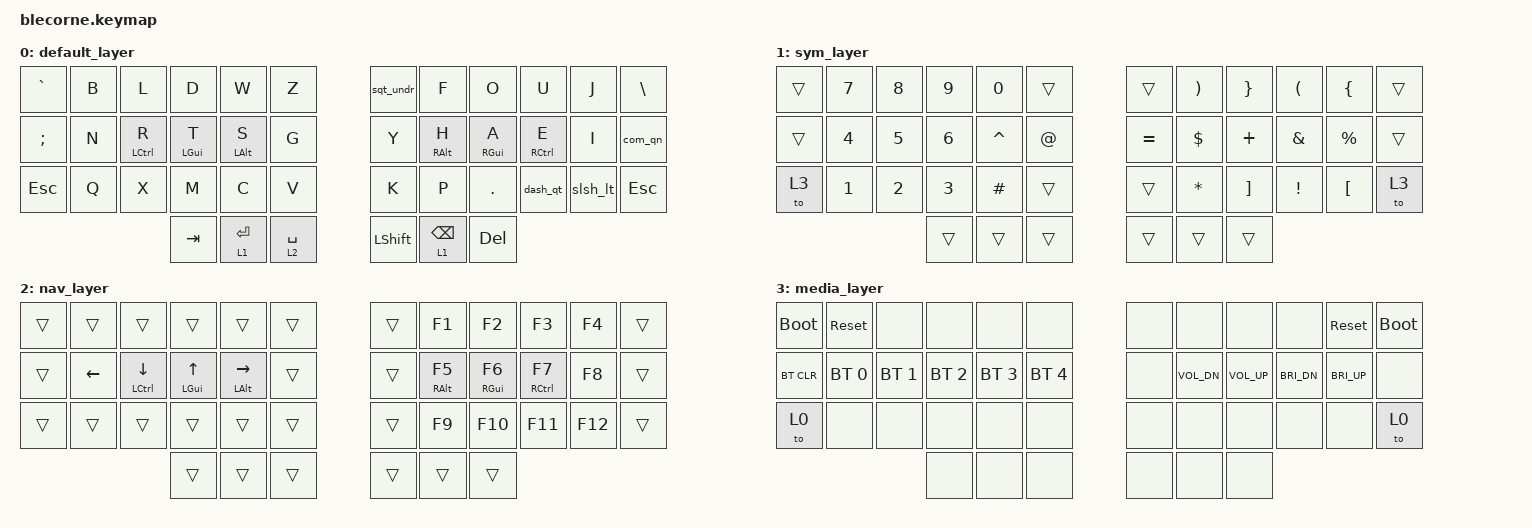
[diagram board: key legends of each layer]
// -*- mode: c -*-
/*
 * Copyright (c) 2020 The ZMK Contributors
 * SPDX-License-Identifier: MIT
 */

#include <behaviors.dtsi>
#include <dt-bindings/zmk/keys.h>
#include <dt-bindings/zmk/bt.h>

/ {
    chosen {
        zmk,physical-layout = &foostan_corne_6col_layout;
        // zmk,physical-layout = &foostan_corne_5col_layout;
    };
};

&mt {
    flavor = "tap-preferred";
    tapping_term_ms = <150>;
};

/ {
    behaviors {
        sqt_undr: sqt_undr {
            compatible = "zmk,behavior-mod-morph";
            label = "SQT_UNDR";
            #binding-cells = <0>;
            bindings = <&kp SINGLE_QUOTE>, <&kp UNDER>;
            mods = <(MOD_LSFT|MOD_RSFT)>;
        };

        dash_qt: dash_qt {
            compatible = "zmk,behavior-mod-morph";
            label = "DASH_QT";
            #binding-cells = <0>;
            bindings = <&kp MINUS>, <&kp DQT>;
            mods = <(MOD_LSFT|MOD_RSFT)>;
        };

        // why does this one work?
        slsh_lt: slsh_lt {
            compatible = "zmk,behavior-mod-morph";
            label = "SLSH_LT";
            #binding-cells = <0>;
            bindings = <&kp SLASH>, <&kp LT>;
            mods = <(MOD_LSFT|MOD_RSFT)>;
        };

        com_qn: com_qn {
            compatible = "zmk,behavior-mod-morph";
            label = "COM_QN";
            #binding-cells = <0>;
            bindings = <&kp COMMA>, <&kp QMARK>;
            mods = <(MOD_LSFT|MOD_RSFT)>;
        };
    };

    keymap {
        compatible = "zmk,keymap";

        default_layer {
            bindings = <
                &kp GRAVE &kp B &kp L      &kp D      &kp W      &kp Z          &sqt_undr &kp F       &kp O      &kp U      &kp J    &kp BSLH
                &kp SEMI  &kp N &mt LCTL R &mt LGUI T &mt LALT S &kp G          &kp Y     &mt RALT H  &mt RGUI A &mt RCTL E &kp I    &com_qn
                &kp ESC   &kp Q &kp X      &kp M      &kp C      &kp V          &kp K     &kp P       &kp DOT    &dash_qt   &slsh_lt &kp ESC
                                           &kp TAB    &lt 1 RET  &lt 2 SPACE    &kp LSHFT &lt 1 BSPC  &kp DEL
            >;
        };

        sym_layer {
            bindings = <
                &trans &kp N7 &kp N8 &kp N9 &kp N0    &trans        &trans    &kp RPAR  &kp RBRC &kp LPAR &kp LBRC  &trans
                &trans &kp N4 &kp N5 &kp N6 &kp CARET &kp AT        &kp EQUAL &kp DLLR  &kp PLUS &kp AMPS &kp PRCNT &trans
                &to 3  &kp N1 &kp N2 &kp N3 &kp HASH  &trans        &trans    &kp ASTRK &kp RBKT &kp EXCL &kp LBKT  &to 3
                                     &trans &trans    &trans        &trans    &trans    &trans
            >;
        };

        nav_layer {
            bindings = <
                &trans &trans   &trans        &trans      &trans         &trans       &trans &kp F1       &kp F2       &kp F3       &kp F4  &trans
                &trans &kp LEFT &mt LCTL DOWN &mt LGUI UP &mt LALT RIGHT &trans       &trans &mt RALT F5  &mt RGUI F6  &mt RCTL F7  &kp F8  &trans
                &trans &trans   &trans        &trans      &trans         &trans       &trans &kp F9       &kp F10      &kp F11      &kp F12 &trans
                                              &trans      &trans         &trans       &trans &trans       &trans
            >;
        };

        media_layer {
            bindings = <
                &bootloader &sys_reset   &none        &none        &none        &none           &none &none        &none        &none        &sys_reset   &bootloader
                &bt BT_CLR  &bt BT_SEL 0 &bt BT_SEL 1 &bt BT_SEL 2 &bt BT_SEL 3 &bt BT_SEL 4    &none &kp C_VOL_DN &kp C_VOL_UP &kp C_BRI_DN &kp C_BRI_UP &none
                &to 0       &none        &none        &none        &none        &none           &none &none        &none        &none        &none        &to 0
                                                      &none        &none        &none           &none &none        &none
            >;
        };
    };
};
